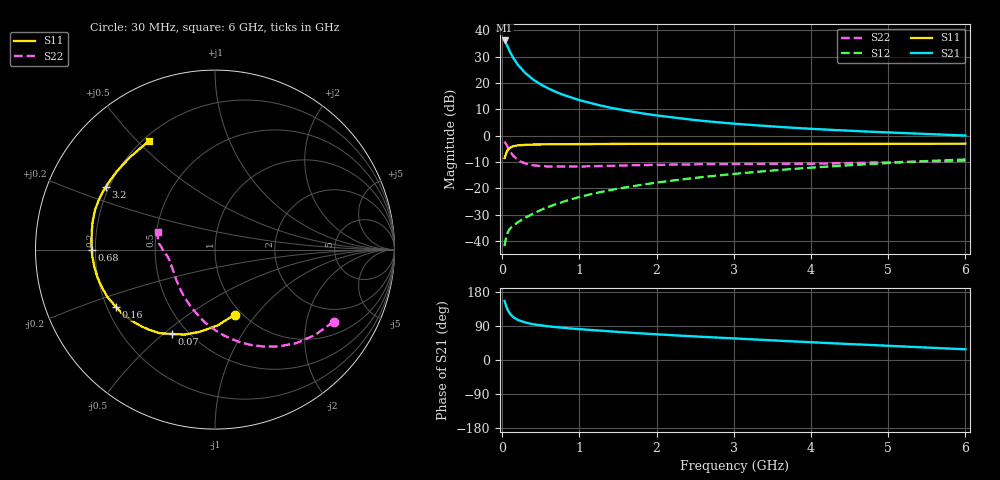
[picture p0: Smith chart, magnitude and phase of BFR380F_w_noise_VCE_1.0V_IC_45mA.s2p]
! Infineon Technologies  Discrete & RF Semiconductors
! BFR380F
! VCE =  1.0 V,  IC =  45 mA
! Common Emitter S-Parameters:  Nov 2015
# GHz  S  MA  R  50
!  f  S11  S21  S12  S22
! GHz  MAG  ANG  MAG  ANG  MAG  ANG  MAG  ANG
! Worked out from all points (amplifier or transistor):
!   206 points, 30 MHz to 6 GHz, reference 50 ohm
!   highest |S21| = 36.1 dB at 30 MHz (marker M1)
!   |S21| within 3 dB of that: start of sweep to 79.03 MHz
!   unconditionally stable (mu >= 1): 648.5 MHz to end of sweep
!   at 200 MHz: K = 0.66, MSG = 29.9 dB, |S12| = -32.9 dB
!   at 1.56 GHz: K = 1.08, MAG = 13.1 dB, |S12| = -19.8 dB
!   at 6 GHz: K = 1.01, MAG = 3.8 dB, |S12| = -9.0 dB
!   lowest NFmin = 1.45 dB at 900 MHz
!   S11 on the Smith chart (normalised r, x): 30 MHz: 0.92, -0.78; 70 MHz: 0.41, -0.53; 160 MHz: 0.24, -0.26; 680 MHz: 0.19, -0.00; 3.2 GHz: 0.19, +0.26; 6 GHz: 0.22, +0.54
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0.03  0.3791 -73.3  64.05 155.4  0.008 72.6  0.7736 -31.2
0.04  0.4235 -88.2  60.24 148.4  0.0101 67.5  0.7327 -40.5
0.05  0.4668 -100.8  56.34 142.0  0.0119 64.1  0.6907 -49.0
0.07  0.5285 -117.2  48.45 132.2  0.0145 57.2  0.6058 -63.1
0.09  0.5759 -128.7  41.8 125.1  0.0164 54.0  0.5366 -74.5
0.11  0.6015 -136.7  36.48 119.6  0.0178 51.8  0.4813 -84.0
0.13  0.6196 -142.8  32.12 115.3  0.0191 51.1  0.4388 -91.9
0.15  0.6337 -148.0  28.63 111.9  0.0201 50.8  0.4052 -98.8
0.16  0.637 -149.7  27.33 110.9  0.0206 51.1  0.3924 -101.2
0.2  0.6555 -156.3  22.26 105.8  0.0227 52.0  0.3492 -112.2
0.24  0.6622 -160.7  19.01 102.7  0.0247 53.7  0.3221 -120.0
0.3  0.6714 -165.8  15.32 98.7  0.0278 56.2  0.296 -130.1
0.34  0.6744 -168.3  13.64 96.9  0.0299 57.9  0.2856 -135.0
0.5  0.683 -175.1  9.344 91.2  0.0388 63.0  0.2648 -149.2
0.68  0.687 -179.8  6.929 87.1  0.0493 66.3  0.259 -158.1
1.04  0.6919 173.5  4.551 80.7  0.0709 69.4  0.2608 -167.5
2.02  0.7036 161.4  2.4 67.6  0.1298 69.4  0.2795 -175.8
3.1  0.7017 151.0  1.647 56.0  0.1939 65.8  0.2901 -179.3
3.2  0.701 150.0  1.607 55.0  0.1999 65.3  0.2903 -179.4
4.1  0.699 140.8  1.325 45.7  0.2528 60.9  0.2948 178.6
5.1  0.6992 131.2  1.135 36.6  0.3083 55.5  0.3148 173.2
6  0.7075 121.3  1.006 28.3  0.3531 49.6  0.3338 163.3
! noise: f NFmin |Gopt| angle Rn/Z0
0.45  1.48  0.39  -176  0.08
0.9  1.45  0.41  -175  0.07
1.8  1.65  0.46  -163  0.09
1.9  1.73  0.47  -164  0.09
2.4  1.79  0.48  -154  0.11
3.5  2.39  0.53  -144  0.18
